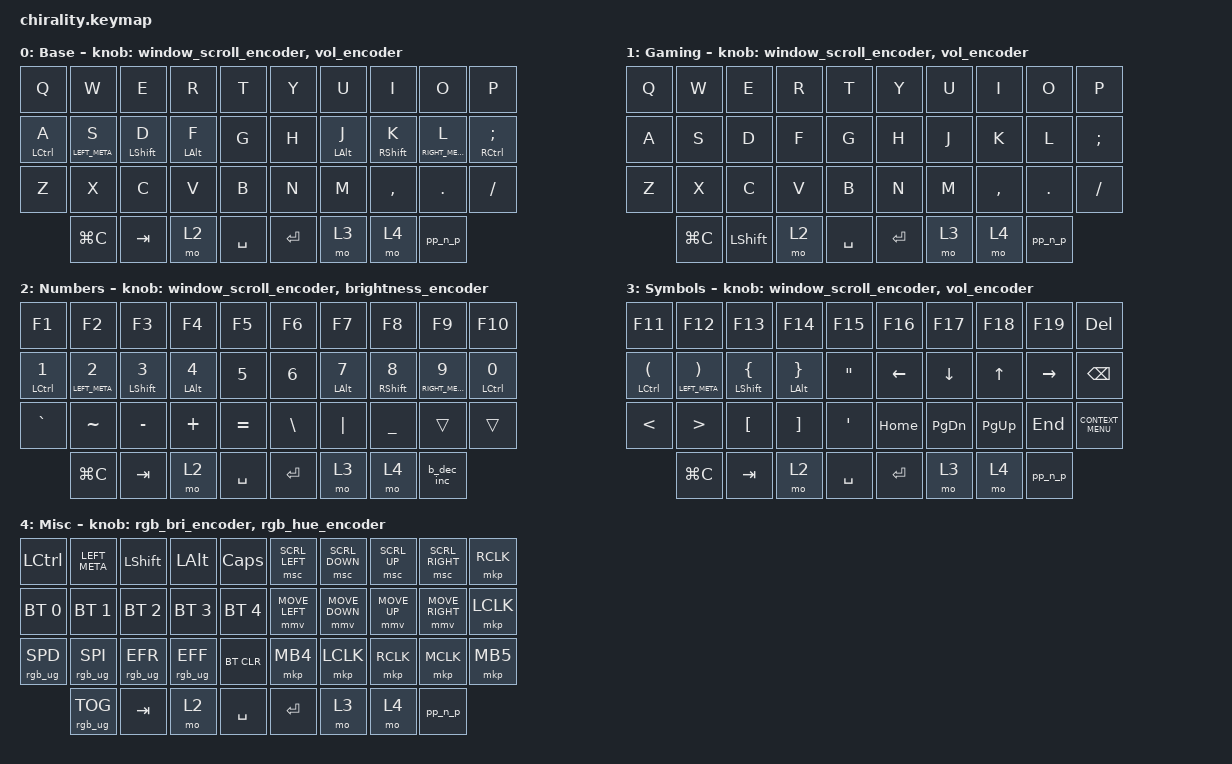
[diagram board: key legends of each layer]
#define ZMK_POINTING_DEFAULT_MOVE_VAL 600  // default: 600
#define ZMK_POINTING_DEFAULT_SCRL_VAL 5    // default: 10

#include <behaviors.dtsi>
#include <dt-bindings/zmk/keys.h>
#include <dt-bindings/zmk/bt.h>
#include <dt-bindings/zmk/outputs.h>
#include <dt-bindings/zmk/pointing.h>
#include <dt-bindings/zmk/rgb.h>

/ {
  behaviors {
    vol_encoder: vol_encoder {
      compatible = "zmk,behavior-sensor-rotate";
      #sensor-binding-cells = <0>;
      bindings = <&kp C_VOL_DN>, <&kp C_VOL_UP>;
    };
    
    brightness_encoder: brightness_encoder {
        compatible = "zmk,behavior-sensor-rotate";
        #sensor-binding-cells = <0>;
        bindings = <&kp C_BRIGHTNESS_DEC>, <&kp C_BRIGHTNESS_INC>;
    };

    scroll_encoder: scroll_encoder {
      compatible = "zmk,behavior-sensor-rotate";
      #sensor-binding-cells = <0>;
      bindings = <&kp DOWN>, <&kp UP>;
    };

    window_scroll_encoder: window_scroll_encoder {
        compatible = "zmk,behavior-sensor-rotate";
        #sensor-binding-cells = <0>;
        bindings = <&kp LG(LEFT)>, <&kp LG(RIGHT)>;
    };

    rgb_bri_encoder: rgb_bri_encoder {
      compatible = "zmk,behavior-sensor-rotate";
      #sensor-binding-cells = <0>;
      bindings = <&rgb_ug RGB_BRD>, <&rgb_ug RGB_BRI>;
    };

    rgb_hue_encoder: rgb_hue_encoder {
      compatible = "zmk,behavior-sensor-rotate";
      #sensor-binding-cells = <0>;
      bindings = <&rgb_ug RGB_HUD>, <&rgb_ug RGB_HUI>;
    };

    hm: homerow_mods {
      compatible = "zmk,behavior-hold-tap";
      label = "HOMEROW_MODS";
      bindings = <&kp>, <&kp>;

      #binding-cells = <2>;
      tapping-term-ms = <300>;
      flavor = "tap-preferred";
      quick-tap-ms = <150>;
    };

    shift: shift {
      compatible = "zmk,behavior-hold-tap";
      label = "SHIFT";
      bindings = <&kp>, <&kp>;

      #binding-cells = <2>;
      tapping-term-ms = <300>;
      flavor = "tap-preferred";
      quick-tap-ms = <150>;
      require-prior-idle-ms = <(-1)>;
    };

    pp_n_p: pp_n_p {
      compatible = "zmk,behavior-tap-dance";
      label = "PP_N_P";
      #binding-cells = <0>;
      bindings = <&kp C_PLAY_PAUSE>, <&kp C_NEXT>, <&kp C_PREV>;

      tapping-term-ms = <400>;
    };

    b_dec_inc: b_dec_inc {
      compatible = "zmk,behavior-tap-dance";
      label = "B_DEC_INC";
      #binding-cells = <0>;
      bindings = <&kp F21>, <&kp F22>; // In hyprland, F21 calls ddcutil setvcp 10 0 (decrease brightness), F22 calls ddcutil setvcp 10 100 (increase brightness)

      tapping-term-ms = <400>;
    };
  };

  combos {
    compatible = "zmk,combos";

    Escape {
      bindings = <&kp ESCAPE>;
      key-positions = <10 22>;
    };

    Gaming {
      bindings = <&tog 1>;
      key-positions = <10 14>;
    };
  };

  keymap {
    compatible = "zmk,keymap";

    base {
      label = "Base";
      bindings = <
        &kp Q        &kp W            &kp E                &kp R           &kp T      &kp Y      &kp U           &kp I                 &kp O             &kp P
        &hm LCTRL A  &hm LEFT_META S  &shift LEFT_SHIFT D  &hm LEFT_ALT F  &kp G      &kp H      &hm LEFT_ALT J  &shift RIGHT_SHIFT K  &hm RIGHT_META L  &hm RCTRL SEMICOLON
        &kp Z        &kp X            &kp C                &kp V           &kp B      &kp N      &kp M           &kp COMMA             &kp DOT           &kp FSLH
                     &kp LG(C)    &kp TAB      &mo 2      &kp SPACE      &kp RET    &mo 3      &mo 4    &pp_n_p
      >;
      sensor-bindings = <&window_scroll_encoder &vol_encoder>;
    };

    gaming {
      label = "Gaming";
      bindings = <
        &kp Q  &kp W  &kp E      &kp R  &kp T        &kp Y      &kp U  &kp I        &kp O    &kp P
        &kp A  &kp S  &kp D      &kp F  &kp G        &kp H      &kp J  &kp K        &kp L    &kp SEMI
        &kp Z  &kp X  &kp C      &kp V  &kp B        &kp N      &kp M  &kp COMMA    &kp DOT  &kp FSLH
            &kp LG(C)    &kp LEFT_SHIFT      &mo 2      &kp SPACE      &kp RET    &mo 3      &mo 4    &pp_n_p
      >;
      sensor-bindings = <&window_scroll_encoder &vol_encoder>;
    };

    numbers {
      label = "Numbers";
      bindings = <
        &kp F1              &kp F2                  &kp F3                      &kp F4                 &kp F5          &kp F6         &kp F7                 &kp F8                 &kp F9             &kp F10
        &hm LCTRL NUMBER_1  &hm LEFT_META NUMBER_2  &shift LEFT_SHIFT NUMBER_3  &hm LEFT_ALT NUMBER_4  &kp NUMBER_5    &kp NUMBER_6   &hm LEFT_ALT NUMBER_7  &shift RIGHT_SHIFT N8  &hm RIGHT_META N9  &hm LCTRL N0
        &kp GRAVE           &kp TILDE               &kp MINUS                   &kp PLUS               &kp EQUAL       &kp BACKSLASH  &kp PIPE               &kp UNDERSCORE         &trans             &trans
                                            &kp LG(C)  &kp TAB                       &mo 2                  &kp SPACE       &kp RETURN     &mo 3                  &mo 4     &b_dec_inc
      >;
      sensor-bindings = <&window_scroll_encoder &brightness_encoder>;
    };

    symbols {
      label = "Symbols";
      bindings = <
        &kp F11    &kp F12        &kp F13         &kp F14       &kp F15      &kp F16     &kp F17               &kp F18               &kp F19     &kp DELETE
        &hm LCTRL LEFT_PARENTHESIS  &hm LEFT_META RIGHT_PARENTHESIS  &shift LEFT_SHIFT LEFT_BRACE  &hm LEFT_ALT RIGHT_BRACE  &kp DOUBLE_QUOTES    &kp LEFT        &kp DOWN_ARROW  &kp UP_ARROW  &kp RIGHT  &kp BACKSPACE
        &kp LESS_THAN               &kp GREATER_THAN                 &kp LEFT_BRACKET              &kp RIGHT_BRACKET         &kp SQT              &kp HOME        &kp PAGE_DOWN   &kp PAGE_UP   &kp END    &kp K_CONTEXT_MENU
            &kp LG(C)    &kp TAB      &mo 2      &kp SPACE      &kp RET    &mo 3      &mo 4    &pp_n_p
      >;
      sensor-bindings = <&window_scroll_encoder &vol_encoder>;
    };

    misc {
      label = "Misc";
      bindings = <
        &kp LCTRL        &kp LEFT_META        &kp LEFT_SHIFT        &kp LEFT_ALT        &kp CAPS      &msc SCRL_LEFT  &msc SCRL_DOWN  &msc SCRL_UP  &msc SCRL_RIGHT  &mkp RCLK 
        &bt BT_SEL 0  &bt BT_SEL 1  &bt BT_SEL 2  &bt BT_SEL 3  &bt BT_SEL 4    &mmv MOVE_LEFT  &mmv MOVE_DOWN  &mmv MOVE_UP  &mmv MOVE_RIGHT  &mkp LCLK
        &rgb_ug RGB_SPD        &rgb_ug RGB_SPI        &rgb_ug RGB_EFR        &rgb_ug RGB_EFF        &bt BT_CLR      &mkp MB4        &mkp LCLK       &mkp RCLK     &mkp MCLK        &mkp MB5
            &rgb_ug RGB_TOG    &kp TAB      &mo 2      &kp SPACE      &kp RET    &mo 3      &mo 4    &pp_n_p
      >;
      sensor-bindings = <&rgb_bri_encoder &rgb_hue_encoder>;
    };
  };
};

